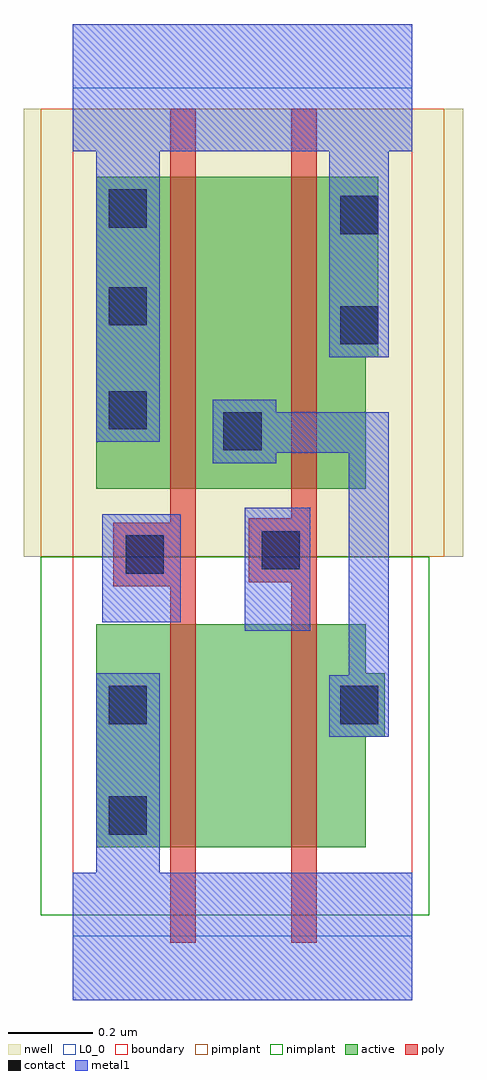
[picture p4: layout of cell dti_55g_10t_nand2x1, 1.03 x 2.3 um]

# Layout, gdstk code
from math import pi, radians
import gdstk
lib = gdstk.Library(unit=1e-6, precision=1e-09)
def R(c, l, rs):  # rectangles x0, y0, x1, y1
    for r in rs: c.add(gdstk.rectangle(r[:2], r[2:], *l))
L0_0 = (0, 0)
nwell = (3, 0)
active = (6, 0)
poly = (17, 0)
pimplant = (25, 0)
nimplant = (26, 0)
contact = (30, 0)
metal1 = (31, 0)
boundary = (108, 0)
L923_0 = (923, 0)

template_55g_10t = lib.new_cell('template_55g_10t')
R(template_55g_10t, metal1, [(0,-0.15,0.2,0.15), (0,1.85,0.2,2.15)])
template_55g_10t.add(gdstk.FlexPath([(0.2,0.21),(0,0.21)], 0, ends="flush", simple_path=True, layer=923, datatype=0))  # L923_0
template_55g_10t.add(gdstk.FlexPath([(0.2,0.735),(0,0.735)], 0, ends="flush", simple_path=True, layer=923, datatype=0))  # L923_0
template_55g_10t.add(gdstk.FlexPath([(0.2,0.895),(0,0.895)], 0, ends="flush", simple_path=True, layer=923, datatype=0))  # L923_0
template_55g_10t.add(gdstk.FlexPath([(0.2,1.055),(0,1.055)], 0, ends="flush", simple_path=True, layer=923, datatype=0))  # L923_0
template_55g_10t.add(gdstk.FlexPath([(0.2,1.79),(0,1.79)], 0, ends="flush", simple_path=True, layer=923, datatype=0))  # L923_0

cellgrid_nom2 = lib.new_cell('cellgrid_noM2')
R(cellgrid_nom2, L0_0, [(0,0,0.2,0.2)])
cellgrid_nom2.add(gdstk.FlexPath([(0.2,0),(0,0.2)], 0, ends="flush", simple_path=True, layer=0, datatype=0))  # L0_0
cellgrid_nom2.add(gdstk.FlexPath([(0.2,0.2),(0,0)], 0, ends="flush", simple_path=True, layer=0, datatype=0))  # L0_0

pmos_735_n_2 = lib.new_cell('pmos_735_n_2')
R(pmos_735_n_2, nwell, [(-0.275,-0.16,0.335,0.895)])
R(pmos_735_n_2, active, [(-0.115,0,0.175,0.735)])
R(pmos_735_n_2, poly, [(0,-0.14,0.06,0.875)])
R(pmos_735_n_2, pimplant, [(-0.245,-0.16,0.305,0.895)])

nmos_525_n_2 = lib.new_cell('nmos_525_n_2')
R(nmos_525_n_2, active, [(-0.115,0,0.175,0.525)])
R(nmos_525_n_2, poly, [(0,-0.14,0.06,0.665)])
R(nmos_525_n_2, nimplant, [(-0.245,-0.16,0.305,0.685)])

cnt_n = lib.new_cell('cnt_n')
R(cnt_n, active, [(-0.06,-0.075,0.06,0.075)])
R(cnt_n, contact, [(-0.045,-0.045,0.045,0.045)])
R(cnt_n, metal1, [(-0.045,-0.045,0.045,0.045)])

cnt = lib.new_cell('cnt')
R(cnt, contact, [(-0.045,-0.045,0.045,0.045)])
R(cnt, metal1, [(-0.045,-0.045,0.045,0.045)])

pcnt = lib.new_cell('pcnt')
R(pcnt, L0_0, [(-0.065,-0.065,0.065,0.065)])
R(pcnt, poly, [(-0.075,-0.075,0.075,0.075)])
pcnt.add(gdstk.Reference(cnt, (0,0)))

dti_55g_10t_nand2x1 = lib.new_cell('dti_55g_10t_nand2x1')
R(dti_55g_10t_nand2x1, nwell, [(-0.115,0.895,0.92,1.95)])
R(dti_55g_10t_nand2x1, active, [(0.055,0.21,0.115,0.735), (0.055,1.055,0.12,1.79), (0.69,1.365,0.72,1.79)])
R(dti_55g_10t_nand2x1, poly, [(0.23,-0.015,0.29,0.07), (0.515,-0.015,0.575,0.07), (0.23,0.875,0.29,0.915), (0.515,0.875,0.575,0.915), (0.23,1.93,0.29,1.95), (0.515,1.93,0.575,1.95)])
R(dti_55g_10t_nand2x1, pimplant, [(-0.075,0.895,0.875,1.95)])
R(dti_55g_10t_nand2x1, nimplant, [(-0.075,0.05,0.84,0.895)])
R(dti_55g_10t_nand2x1, metal1, [(0.055,0.15,0.205,0.62), (0.605,0.47,0.7,0.615), (0.65,0.47,0.745,1.235), (0.405,0.72,0.56,1.01), (0.07,0.74,0.255,0.995), (0.33,1.115,0.48,1.265), (0.415,1.14,0.725,1.235), (0.055,1.165,0.205,1.85), (0.605,1.365,0.745,1.85)])
R(dti_55g_10t_nand2x1, boundary, [(0,-0.15,0.8,2.15)])
r = gdstk.Reference(template_55g_10t, (0,0)); r.repetition = gdstk.Repetition(4, 1, v1=(0.2,0), v2=(0,0)); dti_55g_10t_nand2x1.add(r)
r = gdstk.Reference(cellgrid_nom2, (0,0)); r.repetition = gdstk.Repetition(4, 10, v1=(0.2,0), v2=(0,0.2)); dti_55g_10t_nand2x1.add(r)
dti_55g_10t_nand2x1.add(gdstk.Reference(pmos_735_n_2, (0.23,1.055)))
dti_55g_10t_nand2x1.add(gdstk.Reference(pmos_735_n_2, (0.515,1.055)))
dti_55g_10t_nand2x1.add(gdstk.Reference(nmos_525_n_2, (0.23,0.21)))
dti_55g_10t_nand2x1.add(gdstk.Reference(nmos_525_n_2, (0.515,0.21)))
dti_55g_10t_nand2x1.add(gdstk.Reference(cnt_n, (0.13,1.715), rotation=pi/2))
dti_55g_10t_nand2x1.add(gdstk.Reference(cnt_n, (0.13,1.485), rotation=pi/2))
dti_55g_10t_nand2x1.add(gdstk.Reference(cnt_n, (0.13,1.24), rotation=pi/2))
dti_55g_10t_nand2x1.add(gdstk.Reference(cnt_n, (0.13,0.285), rotation=pi))
dti_55g_10t_nand2x1.add(gdstk.Reference(cnt_n, (0.13,0.545), rotation=pi))
dti_55g_10t_nand2x1.add(gdstk.Reference(pcnt, (0.17,0.9)))
dti_55g_10t_nand2x1.add(gdstk.Reference(cnt, (0.675,1.44)))
dti_55g_10t_nand2x1.add(gdstk.Reference(cnt_n, (0.4,1.19), rotation=pi))
dti_55g_10t_nand2x1.add(gdstk.Reference(cnt_n, (0.675,0.545)))
dti_55g_10t_nand2x1.add(gdstk.Reference(pcnt, (0.49,0.91)))
dti_55g_10t_nand2x1.add(gdstk.Reference(cnt, (0.675,1.7)))

lib.write_gds('dti_55g_10t_nand2x1.gds')
